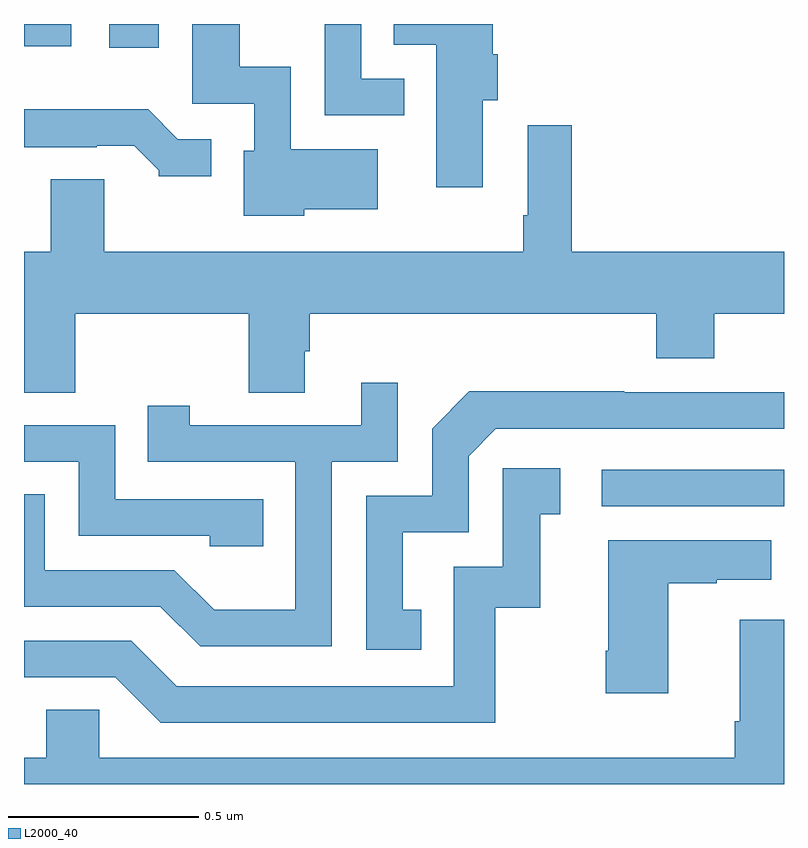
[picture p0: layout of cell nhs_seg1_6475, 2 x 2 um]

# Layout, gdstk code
import gdstk
lib = gdstk.Library(unit=1e-6, precision=1e-09)
def R(c, l, rs):  # rectangles x0, y0, x1, y1
    for r in rs: c.add(gdstk.rectangle(r[:2], r[2:], *l))
def P(c, l, *ps):  # polygons
    for p in ps: c.add(gdstk.Polygon(p, *l))
L2000_40 = (2000, 40)

nhs_seg1_6475 = lib.new_cell('nhs_seg1_6475')
R(nhs_seg1_6475, L2000_40, [(193.521,513.93,194,514.026), (192.224,515.136,192.355,515.199), (192,515.141,192.124,515.199)])
P(nhs_seg1_6475, L2000_40, [(192.738,514.712),(192.931,514.712),(192.931,514.87),(192.702,514.87),(192.702,515.086),(192.568,515.086),(192.568,515.199),(192.443,515.199),(192.443,514.989),(192.606,514.989),(192.606,514.866),(192.578,514.866),(192.578,514.694),(192.738,514.694)],
  [(193,515.055),(192.888,515.055),(192.888,515.199),(192.792,515.199),(192.792,514.959),(193,514.959)],
  [(193.207,514.998),(193.247,514.998),(193.247,515.12),(193.234,515.12),(193.234,515.199),(192.973,515.199),(192.973,515.144),(193.085,515.144),(193.085,514.77),(193.207,514.77)],
  [(192.493,514.896),(192.405,514.896),(192.327,514.975),(192,514.975),(192,514.875),(192.191,514.875),(192.191,514.878),(192.29,514.878),(192.354,514.814),(192.354,514.799),(192.493,514.799)],
  [(192.135,514.436),(192.592,514.436),(192.592,514.228),(192.739,514.228),(192.739,514.338),(192.752,514.338),(192.752,514.436),(193.664,514.436),(193.664,514.319),(193.816,514.319),(193.816,514.436),(194,514.436),(194,514.6),(193.442,514.6),(193.442,514.933),(193.326,514.933),(193.326,514.696),(193.314,514.696),(193.314,514.6),(192.211,514.6),(192.211,514.79),(192.071,514.79),(192.071,514.6),(192,514.6),(192,514.228),(192.135,514.228)],
  [(192.81,514.047),(192.984,514.047),(192.984,514.255),(192.887,514.255),(192.887,514.143),(192.436,514.143),(192.436,514.195),(192.325,514.195),(192.325,514.047),(192.714,514.047),(192.714,513.658),(192.5,513.658),(192.396,513.762),(192.054,513.762),(192.054,513.961),(192,513.961),(192,513.666),(192.359,513.666),(192.464,513.561),(192.81,513.561)],
  [(193.046,513.657),(192.997,513.657),(192.997,513.861),(193.17,513.861),(193.17,514.062),(193.242,514.134),(194,514.134),(194,514.23),(193.58,514.23),(193.58,514.232),(193.172,514.232),(193.074,514.134),(193.074,513.957),(192.9,513.957),(192.9,513.552),(193.046,513.552)],
  [(192.629,513.948),(192.24,513.948),(192.24,514.143),(192,514.143),(192,514.047),(192.144,514.047),(192.144,513.852),(192.489,513.852),(192.489,513.825),(192.629,513.825)],
  [(193.24,513.663),(193.358,513.663),(193.358,513.909),(193.411,513.909),(193.411,514.03),(193.26,514.03),(193.26,513.771),(193.131,513.771),(193.131,513.456),(192.402,513.456),(192.282,513.576),(192,513.576),(192,513.48),(192.24,513.48),(192.36,513.36),(193.24,513.36)],
  [(193.696,513.727),(193.823,513.727),(193.823,513.737),(193.966,513.737),(193.966,513.841),(193.538,513.841),(193.538,513.55),(193.531,513.55),(193.531,513.438),(193.696,513.438)],
  [(194,513.631),(193.883,513.631),(193.883,513.364),(193.871,513.364),(193.871,513.268),(192.198,513.268),(192.198,513.395),(192.059,513.395),(192.059,513.268),(192,513.268),(192,513.199),(194,513.199)])

lib.write_gds('nhs_seg1_6475.gds')
